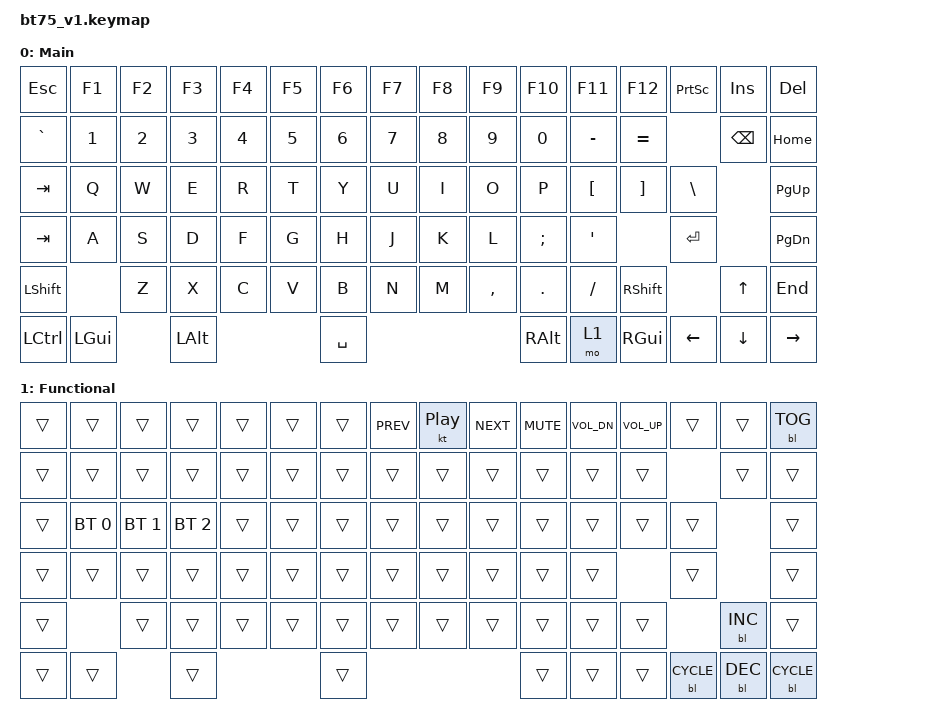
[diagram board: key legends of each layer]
#include <behaviors.dtsi>
#include <dt-bindings/zmk/backlight.h>
#include <dt-bindings/zmk/bt.h>
#include <dt-bindings/zmk/keys.h>

/ {
    keymap {
        compatible = "zmk,keymap";

        Main {
            bindings = <
&kp ESC    &kp F1    &kp F2  &kp F3    &kp F4  &kp F5  &kp F6     &kp F7  &kp F8  &kp F9     &kp F10   &kp F11    &kp F12        &kp PRINTSCREEN  &kp INSERT  &kp DEL
&kp GRAVE  &kp N1    &kp N2  &kp N3    &kp N4  &kp N5  &kp N6     &kp N7  &kp N8  &kp N9     &kp N0    &kp MINUS  &kp EQUAL                       &kp BSPC    &kp HOME
&kp TAB    &kp Q     &kp W   &kp E     &kp R   &kp T   &kp Y      &kp U   &kp I   &kp O      &kp P     &kp LBKT   &kp RBKT       &kp BSLH                     &kp PAGE_UP
&kp TAB    &kp A     &kp S   &kp D     &kp F   &kp G   &kp H      &kp J   &kp K   &kp L      &kp SEMI  &kp SQT                   &kp RET                      &kp PAGE_DOWN
&kp LSHFT            &kp Z   &kp X     &kp C   &kp V   &kp B      &kp N   &kp M   &kp COMMA  &kp DOT   &kp FSLH   &kp RSHFT                       &kp UP      &kp END
&kp LCTRL  &kp LGUI          &kp LALT                  &kp SPACE                             &kp RALT  &mo 1      &kp RIGHT_GUI  &kp LEFT         &kp DOWN    &kp RIGHT
            >;
        };

        Functional {
            bindings = <
&trans  &trans        &trans        &trans        &trans  &trans  &trans  &kp K_PREV  &kt C_PLAY_PAUSE  &kp C_NEXT  &kp C_MUTE  &kp C_VOL_DN  &kp C_VOLUME_UP  &trans        &trans      &bl BL_TOG
&trans  &trans        &trans        &trans        &trans  &trans  &trans  &trans      &trans            &trans      &trans      &trans        &trans                         &trans      &trans
&trans  &bt BT_SEL 0  &bt BT_SEL 1  &bt BT_SEL 2  &trans  &trans  &trans  &trans      &trans            &trans      &trans      &trans        &trans           &trans                    &trans
&trans  &trans        &trans        &trans        &trans  &trans  &trans  &trans      &trans            &trans      &trans      &trans                         &trans                    &trans
&trans                &trans        &trans        &trans  &trans  &trans  &trans      &trans            &trans      &trans      &trans        &trans                         &bl BL_INC  &trans
&trans  &trans                      &trans                        &trans                                            &trans      &trans        &trans           &bl BL_CYCLE  &bl BL_DEC  &bl BL_CYCLE
            >;
        };
    };
};
